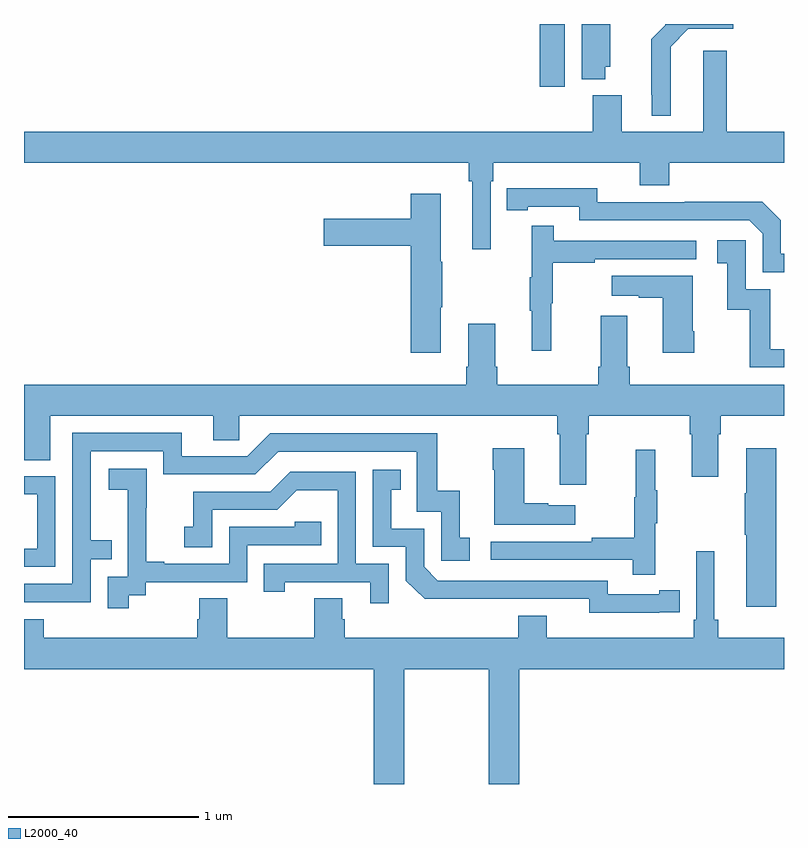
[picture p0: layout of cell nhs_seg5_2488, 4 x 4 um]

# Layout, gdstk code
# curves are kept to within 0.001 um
import gdstk
lib = gdstk.Library(unit=1e-6, precision=1e-09)
def R(c, l, rs):  # rectangles x0, y0, x1, y1
    for r in rs: c.add(gdstk.rectangle(r[:2], r[2:], *l))
def P(c, l, *ps):  # polygons
    for p in ps: c.add(gdstk.Polygon(p, *l))
L2000_40 = (2000, 40)

nhs_seg5_2488 = lib.new_cell('nhs_seg5_2488')
R(nhs_seg5_2488, L2000_40, [(257.714,882.468,257.845,882.799)])
P(nhs_seg5_2488, L2000_40, [(258.403,882.68),(258.495,882.773),(258.733,882.773),(258.733,882.799),(258.375,882.799),(258.375,882.792),(258.301,882.718),(258.301,882.427),(258.305,882.427),(258.305,882.317),(258.403,882.317)],
  [(258.058,882.573),(258.085,882.573),(258.085,882.799),(257.936,882.799),(257.936,882.509),(258.058,882.509)],
  [(257.457,881.972),(257.471,881.972),(257.471,882.068),(258.242,882.068),(258.242,881.951),(258.395,881.951),(258.395,882.068),(259,882.068),(259,882.232),(258.698,882.232),(258.698,882.658),(258.575,882.658),(258.575,882.232),(258.145,882.232),(258.145,882.424),(257.993,882.424),(257.993,882.232),(255,882.232),(255,882.068),(257.341,882.068),(257.341,881.972),(257.36,881.972),(257.36,881.613),(257.457,881.613)],
  [(259,881.589),(258.984,881.589),(258.984,881.766),(258.886,881.864),(258.478,881.864),(258.478,881.862),(258.018,881.862),(258.018,881.935),(257.542,881.934),(257.542,881.818),(257.65,881.818),(257.65,881.838),(257.922,881.838),(257.922,881.766),(258.816,881.766),(258.888,881.694),(258.888,881.493),(259,881.493)],
  [(257.194,881.308),(257.202,881.308),(257.202,881.549),(257.194,881.549),(257.194,881.905),(257.036,881.905),(257.036,881.775),(256.578,881.775),(256.578,881.633),(257.036,881.633),(257.036,881.07),(257.194,881.07)],
  [(257.774,881.328),(257.782,881.328),(257.782,881.542),(258.005,881.542),(258.005,881.562),(258.538,881.562),(258.538,881.658),(257.789,881.658),(257.789,881.737),(257.672,881.737),(257.672,881.465),(257.661,881.465),(257.661,881.291),(257.672,881.291),(257.672,881.079),(257.774,881.079)],
  [(259,881.088),(258.927,881.088),(258.927,881.403),(258.798,881.403),(258.798,881.662),(258.648,881.662),(258.648,881.541),(258.701,881.541),(258.701,881.295),(258.819,881.295),(258.819,880.992),(259,880.992)],
  [(258.528,881.182),(258.52,881.182),(258.52,881.473),(258.093,881.473),(258.093,881.369),(258.236,881.369),(258.236,881.359),(258.362,881.359),(258.362,881.07),(258.528,881.07)],
  [(257.959,880.64),(257.972,880.64),(257.972,880.736),(258.503,880.736),(258.503,880.64),(258.515,880.64),(258.515,880.416),(258.655,880.416),(258.655,880.64),(258.668,880.64),(258.668,880.736),(259,880.736),(259,880.9),(258.188,880.9),(258.188,880.996),(258.175,880.996),(258.175,881.263),(258.035,881.263),(258.035,880.996),(258.023,880.996),(258.023,880.9),(257.492,880.9),(257.492,880.996),(257.479,880.996),(257.479,881.221),(257.339,881.221),(257.339,880.996),(257.327,880.996),(257.327,880.9),(255,880.9),(255,880.504),(255.139,880.504),(255.139,880.736),(255.995,880.736),(255.995,880.609),(256.134,880.609),(256.134,880.736),(257.807,880.736),(257.807,880.64),(257.819,880.64),(257.819,880.374),(257.959,880.374)],
  [(255.351,879.981),(255.461,879.981),(255.461,880.082),(255.351,880.082),(255.351,880.551),(255.732,880.551),(255.732,880.428),(256.218,880.428),(256.338,880.548),(257.067,880.548),(257.067,880.233),(257.196,880.233),(257.196,879.975),(257.347,879.975),(257.347,880.095),(257.294,880.095),(257.294,880.342),(257.176,880.342),(257.176,880.644),(256.296,880.644),(256.176,880.524),(255.829,880.524),(255.829,880.647),(255.255,880.647),(255.255,879.852),(255,879.852),(255,879.756),(255.351,879.756)],
  [(258.959,880.567),(258.8,880.567),(258.8,880.328),(258.793,880.328),(258.793,880.111),(258.8,880.111),(258.8,879.732),(258.959,879.732)],
  [(257.902,880.267),(257.759,880.267),(257.759,880.277),(257.632,880.277),(257.632,880.567),(257.467,880.567),(257.467,880.454),(257.474,880.454),(257.474,880.163),(257.902,880.163)],
  [(258.323,880.171),(258.334,880.171),(258.334,880.345),(258.323,880.345),(258.323,880.558),(258.22,880.558),(258.22,880.308),(258.213,880.308),(258.213,880.094),(257.989,880.094),(257.989,880.074),(257.457,880.074),(257.457,879.978),(258.205,879.978),(258.205,879.9),(258.323,879.9)],
  [(255.55,879.793),(255.642,879.793),(255.642,879.861),(256.176,879.861),(256.176,880.056),(256.565,880.056),(256.565,880.179),(256.425,880.179),(256.425,880.152),(256.08,880.152),(256.08,879.957),(255.739,879.957),(255.739,879.97),(255.644,879.97),(255.644,880.253),(255.645,880.253),(255.645,880.459),(255.447,880.459),(255.447,880.349),(255.545,880.349),(255.545,880.121),(255.546,880.121),(255.546,879.891),(255.441,879.891),(255.441,879.723),(255.55,879.723)],
  [(258.344,879.702),(258.452,879.702),(258.452,879.818),(258.344,879.818),(258.344,879.798),(258.072,879.798),(258.072,879.87),(257.178,879.87),(257.106,879.942),(257.106,880.143),(256.933,880.143),(256.933,880.347),(256.982,880.347),(256.982,880.453),(256.836,880.453),(256.836,880.047),(257.01,880.047),(257.01,879.87),(257.108,879.773),(257.976,879.774),(257.976,879.701)],
  [(256.92,879.957),(256.746,879.957),(256.746,880.443),(256.4,880.443),(256.295,880.338),(255.892,880.338),(255.892,880.153),(255.843,880.153),(255.843,880.044),(255.99,880.044),(255.99,880.242),(256.332,880.242),(256.436,880.346),(256.65,880.346),(256.65,879.957),(256.261,879.957),(256.261,879.81),(256.372,879.81),(256.372,879.861),(256.823,879.861),(256.823,879.75),(256.92,879.75)],
  [(255.165,880.419),(255,880.419),(255,880.323),(255.069,880.323),(255.069,880.038),(255,880.038),(255,879.942),(255.165,879.942)],
  [(256.675,879.666),(256.675,879.776),(256.528,879.776),(256.528,879.568),(256.071,879.568),(256.071,879.776),(255.923,879.776),(255.923,879.666),(255.911,879.666),(255.911,879.568),(255.104,879.568),(255.104,879.667),(255,879.667),(255,879.404),(256.841,879.404),(256.841,878.799),(257.001,878.799),(257.001,879.404),(257.446,879.404),(257.446,878.799),(257.606,878.799),(257.606,879.404),(259,879.404),(259,879.568),(258.653,879.568),(258.653,879.664),(258.634,879.664),(258.634,880.024),(258.537,880.024),(258.537,879.664),(258.524,879.664),(258.524,879.568),(257.752,879.568),(257.752,879.685),(257.6,879.685),(257.6,879.568),(256.688,879.568),(256.688,879.666)])

lib.write_gds('nhs_seg5_2488.gds')
